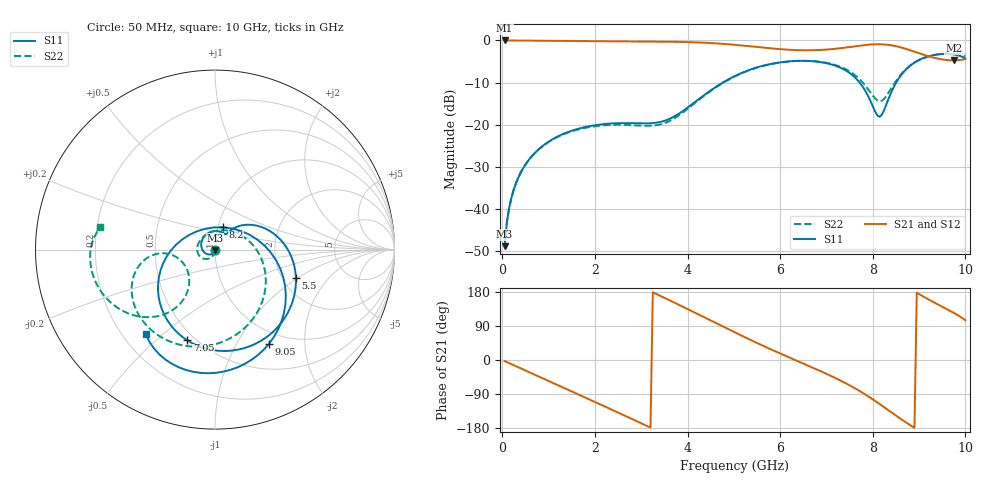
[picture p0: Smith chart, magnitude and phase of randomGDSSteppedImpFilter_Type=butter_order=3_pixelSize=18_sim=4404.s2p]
! freq	dB(S11)	phase(S11)	dB(S12)	phase(S12)
!  dB(S21)	phase(S21)	dB(S22)	phase(S22)
!S-par simulation data
#  GHz  S  DB  R 50
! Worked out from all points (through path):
!   200 points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, 50 MHz to 10 GHz, reference 50 ohm
!   highest |S21| = -0.01 dB at 50 MHz (marker M1); lowest = -4.7 dB at 9.75 GHz (marker M2)
!   group delay of S21, straight-line fit = 168 ps
!   lowest |S11| = -48.9 dB at 50 MHz (marker M3), VSWR 1.01, Z = 50 - j0.358 ohm
!   |S11| at or under -10 dB: start of sweep to 4.765 GHz; 7.715 GHz to 8.507 GHz (792.7 MHz wide, 9.77 % of centre)
!   |S22| runs from -48.8 to -3.1 dB; largest |S21 - S12| = 0
!   S11 on the Smith chart (normalised r, x): 50 MHz: 1.00, -0.01; 5.5 GHz: 2.36, -0.97; 7.05 GHz: 0.45, -0.64; 8.2 GHz: 1.06, +0.27; 9.05 GHz: 0.83, -1.37; 10 GHz: 0.29, -0.44
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0.05  -48.91 -91.4  -0.01 -2.8  -0.01 -2.8  -48.84 -86.9
0.1  -43.09 -94.9  -0.01 -5.6  -0.01 -5.6  -43.11 -90.5
0.2  -37.30 -104.0  -0.02 -11.1  -0.02 -11.1  -37.22 -95.6
0.5  -29.53 -128.2  -0.04 -27.7  -0.04 -27.7  -29.49 -107.6
1.15  -23.09 -178.7  -0.10 -63.6  -0.10 -63.6  -23.17 -131.0
1.75  -20.69 135.9  -0.15 -96.8  -0.15 -96.8  -20.88 -152.2
2.65  -19.65 76.8  -0.22 -147.1  -0.22 -147.1  -20.08 166.4
3.4  -19.41 53.9  -0.28 169.9  -0.28 169.9  -20.00 102.0
4.3  -13.48 40.3  -0.51 116.5  -0.51 116.5  -13.65 8.7
5.05  -8.32 5.2  -1.07 71.2  -1.07 71.2  -8.39 -44.9
5.5  -6.42 -19.4  -1.56 45.0  -1.56 45.0  -6.47 -71.8
6.05  -5.14 -49.7  -2.11 14.5  -2.11 14.5  -5.17 -101.3
6.7  -4.94 -85.9  -2.33 -20.1  -2.33 -20.1  -4.91 -132.8
7.05  -5.54 -107.1  -2.13 -39.3  -2.13 -39.3  -5.43 -149.0
7.65  -9.18 -154.0  -1.34 -77.0  -1.34 -77.0  -8.57 -173.6
8.2  -17.60 70.7  -0.92 -120.7  -0.92 -120.7  -14.31 -143.1
8.35  -13.62 23.6  -1.07 -133.7  -1.07 -133.7  -12.25 -126.3
8.7  -7.10 -27.8  -1.96 -163.3  -1.96 -163.3  -7.00 -127.3
9.05  -4.37 -60.1  -3.23 170.3  -3.23 170.3  -4.41 -143.9
9.4  -3.33 -86.1  -4.31 147.1  -4.31 147.1  -3.33 -161.6
9.75  -3.34 -110.3  -4.73 124.3  -4.73 124.3  -3.16 -178.8
10  -4.31 -129.4  -4.44 104.9  -4.44 104.9  -3.74 169.1
